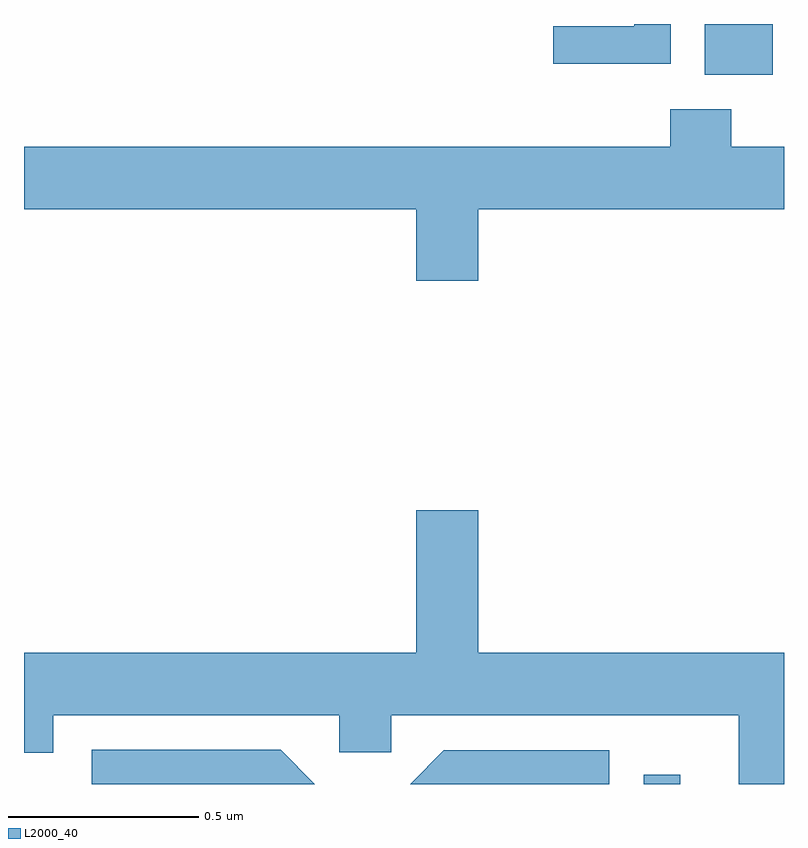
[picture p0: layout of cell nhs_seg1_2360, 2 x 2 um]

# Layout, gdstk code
import gdstk
lib = gdstk.Library(unit=1e-6, precision=1e-09)
def R(c, l, rs):  # rectangles x0, y0, x1, y1
    for r in rs: c.add(gdstk.rectangle(r[:2], r[2:], *l))
def P(c, l, *ps):  # polygons
    for p in ps: c.add(gdstk.Polygon(p, *l))
L2000_40 = (2000, 40)

nhs_seg1_2360 = lib.new_cell('nhs_seg1_2360')
R(nhs_seg1_2360, L2000_40, [(141.631,570.199,141.727,570.223), (141.791,572.066,141.97,572.199)])
P(nhs_seg1_2360, L2000_40, [(141.702,572.199),(141.606,572.199),(141.606,572.193),(141.393,572.193),(141.393,572.095),(141.702,572.095)],
  [(141.196,571.712),(142,571.712),(142,571.876),(141.861,571.876),(141.861,571.975),(141.701,571.975),(141.701,571.876),(140,571.876),(140,571.712),(141.032,571.712),(141.032,571.524),(141.196,571.524)],
  [(142,570.544),(141.196,570.544),(141.196,570.919),(141.032,570.919),(141.032,570.544),(140,570.544),(140,570.281),(140.077,570.281),(140.077,570.38),(140.829,570.38),(140.829,570.282),(140.967,570.282),(140.967,570.38),(141.881,570.38),(141.881,570.199),(142,570.199)],
  [(140.675,570.289),(140.178,570.289),(140.178,570.199),(140.765,570.199)],
  [(141.54,570.288),(141.105,570.288),(141.016,570.199),(141.54,570.199)])

lib.write_gds('nhs_seg1_2360.gds')
